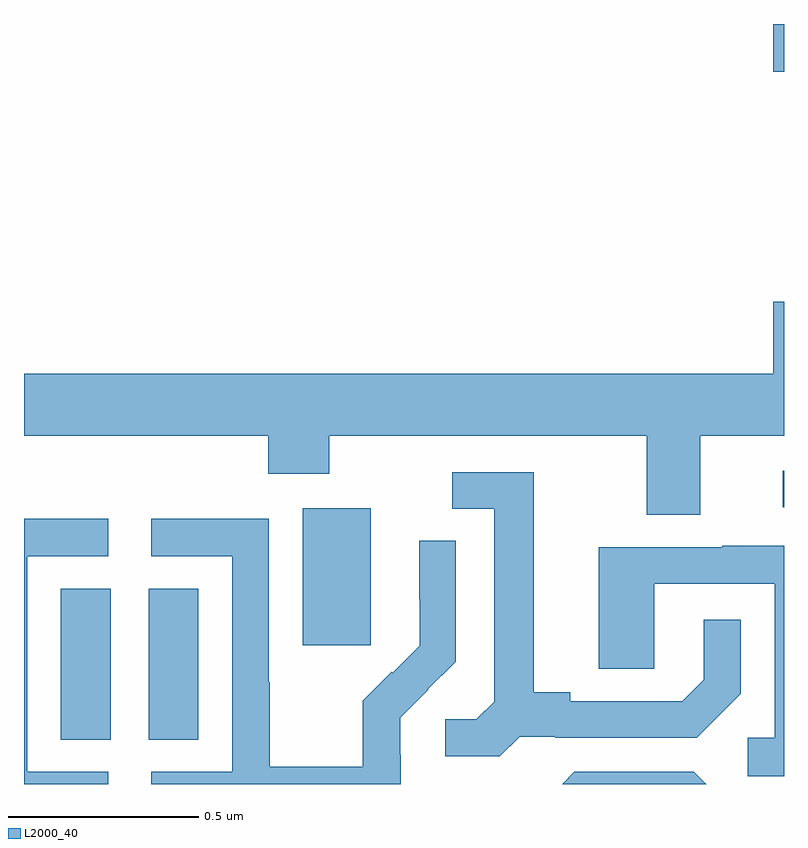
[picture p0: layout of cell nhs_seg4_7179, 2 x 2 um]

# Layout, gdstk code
import gdstk
lib = gdstk.Library(unit=1e-6, precision=1e-09)
def R(c, l, rs):  # rectangles x0, y0, x1, y1
    for r in rs: c.add(gdstk.rectangle(r[:2], r[2:], *l))
def P(c, l, *ps):  # polygons
    for p in ps: c.add(gdstk.Polygon(p, *l))
L2000_40 = (2000, 40)

nhs_seg4_7179 = lib.new_cell('nhs_seg4_7179')
R(nhs_seg4_7179, L2000_40, [(199.097,800.017,199.228,800.414), (199.328,800.017,199.459,800.414), (199.733,800.265,199.912,800.626), (200.997,800.628,201,800.724), (200.972,801.774,201,801.9)])
P(nhs_seg4_7179, L2000_40, [(200.779,800.816),(201,800.816),(201,801.169),(200.972,801.169),(200.972,800.98),(199,800.98),(199,800.816),(199.643,800.816),(199.643,800.717),(199.803,800.717),(199.803,800.816),(200.639,800.816),(200.639,800.608),(200.779,800.608)],
  [(200.304,800.025),(200.398,800.025),(200.398,800.022),(200.77,800.022),(200.886,800.138),(200.886,800.332),(200.789,800.332),(200.789,800.175),(200.732,800.118),(200.437,800.118),(200.437,800.141),(200.341,800.141),(200.341,800.721),(200.127,800.721),(200.127,800.625),(200.237,800.625),(200.237,800.117),(200.19,800.07),(200.109,800.07),(200.109,799.973),(200.252,799.973)],
  [(199.992,799.977),(199.99,799.977),(199.99,800.074),(200.064,800.148),(200.063,800.149),(200.136,800.222),(200.136,800.54),(200.04,800.54),(200.04,800.386),(200.042,800.386),(200.042,800.264),(199.971,800.193),(199.968,800.196),(199.891,800.119),(199.891,799.945),(199.647,799.945),(199.647,800.168),(199.644,800.168),(199.644,800.598),(199.335,800.598),(199.335,800.499),(199.548,800.499),(199.548,799.932),(199.335,799.932),(199.335,799.9),(199.992,799.9)],
  [(199.222,799.932),(199.008,799.932),(199.008,800.499),(199.222,800.499),(199.222,800.598),(199,800.598),(199,799.9),(199.222,799.9)],
  [(201,800.527),(200.837,800.527),(200.837,800.523),(200.513,800.523),(200.513,800.203),(200.658,800.203),(200.658,800.427),(200.976,800.427),(200.976,800.022),(200.904,800.022),(200.904,799.921),(201,799.921)],
  [(200.763,799.932),(200.448,799.932),(200.416,799.9),(200.795,799.9)])

lib.write_gds('nhs_seg4_7179.gds')
